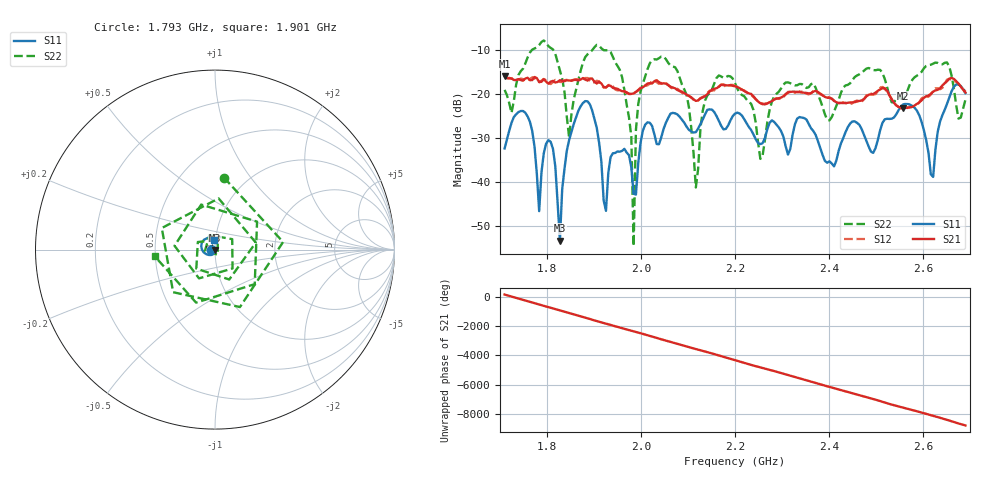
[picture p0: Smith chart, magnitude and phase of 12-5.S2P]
!Agilent Technologies,E5061B,MY49305579,A.02.22
!Date: Thu Aug 24 16:22:58 2017
!Data & Calibration Information:
!Freq	S11:SOLT2(ON)	S21:SOLT2(ON)	S12:SOLT2(ON)	S22:SOLT2(ON)
# Hz S dB R 50
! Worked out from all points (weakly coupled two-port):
!   201 points, 1.71 GHz to 2.69 GHz, reference 50 ohm
!   highest |S21| = -16.03 dB at 1.71 GHz (marker M1); lowest = -23.2 dB at 2.558 GHz (marker M2)
!   lowest |S11| = -53.3 dB at 1.828 GHz (marker M3), VSWR 1.00, Z = 49.9 - j0.207 ohm
!   |S11| at or under -10 dB: start of sweep to end of sweep
!   |S22| runs from -54.6 to -7.9 dB; largest |S21 - S12| = 0.016
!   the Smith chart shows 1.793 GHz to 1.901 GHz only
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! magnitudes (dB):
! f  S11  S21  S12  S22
! 1.71 GHz  -32.4  -16.0  -16.2  -19.1
! 1.759 GHz  -25.1  -16.3  -17.0  -11.7
! 1.784 GHz  -46.6  -17.3  -17.3  -8.9
! 1.808 GHz  -30.9  -17.2  -17.8  -9.6
! 1.828 GHz  -53.3  -16.9  -17.3  -14.7
! 1.847 GHz  -30.5  -16.9  -16.9  -29.9
! 1.877 GHz  -22.1  -16.4  -16.7  -12.9
! 1.926 GHz  -46.6  -18.5  -18.6  -10.1
! 1.96 GHz  -32.9  -19.4  -19.1  -16.2
! 1.98 GHz  -36.7  -20.0  -20.0  -29.7
! 1.984 GHz  -42.7  -19.9  -19.9  -54.6
! 1.994 GHz  -35.7  -19.2  -19.1  -22.3
! 2.038 GHz  -31.4  -17.3  -17.7  -11.9
! 2.117 GHz  -28.7  -21.6  -21.6  -41.3
! 2.136 GHz  -24.6  -20.5  -20.4  -21.5
! 2.2 GHz  -24.5  -18.3  -18.2  -17.6
! 2.254 GHz  -31.4  -22.1  -22.1  -34.8
! 2.367 GHz  -28.4  -19.5  -19.4  -17.6
! 2.528 GHz  -25.7  -20.2  -20.4  -20.5
! 2.558 GHz  -22.4  -23.2  -23.4  -21.1
! 2.621 GHz  -38.9  -19.5  -19.3  -13.1
! 2.69 GHz  -19.8  -19.7  -19.4  -21.3
